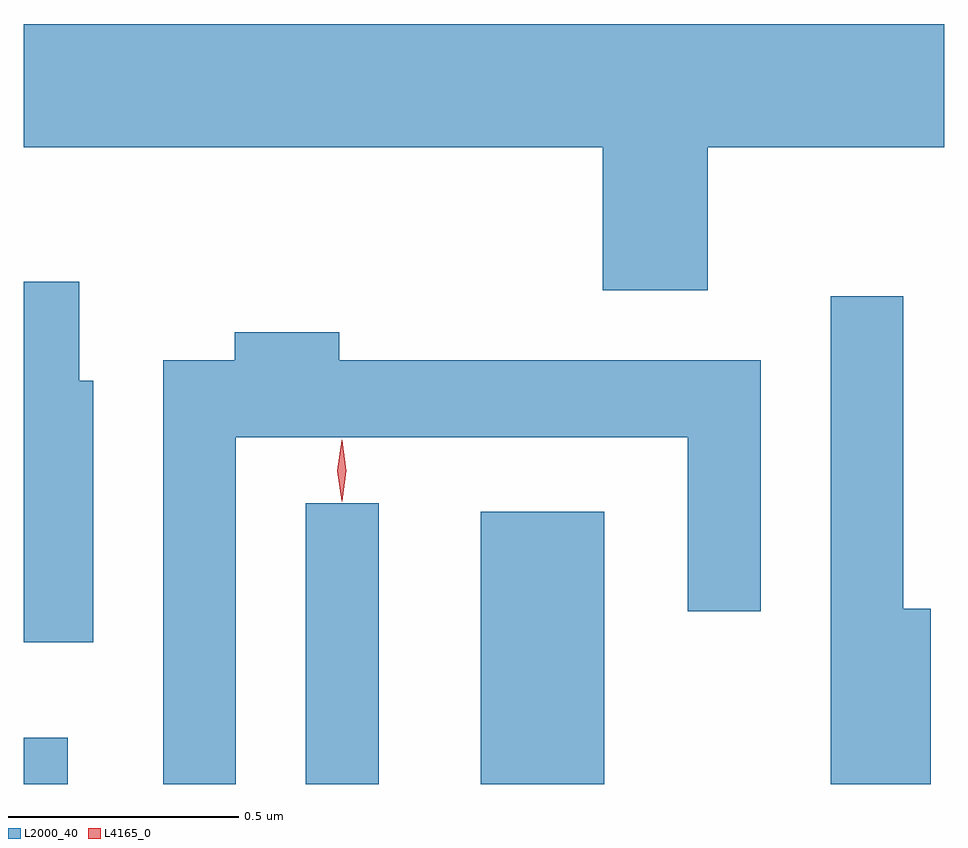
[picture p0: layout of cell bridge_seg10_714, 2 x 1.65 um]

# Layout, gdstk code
import gdstk
lib = gdstk.Library(unit=1e-6, precision=1e-09)
def R(c, l, rs):  # rectangles x0, y0, x1, y1
    for r in rs: c.add(gdstk.rectangle(r[:2], r[2:], *l))
def P(c, l, *ps):  # polygons
    for p in ps: c.add(gdstk.Polygon(p, *l))
L2000_40 = (2000, 40)
L4165_0 = (4165, 0)

bridge_seg10_714 = lib.new_cell('bridge_seg10_714')
R(bridge_seg10_714, L2000_40, [(1043.063,2128.073,1043.159,2128.174), (1043.676,2128.073,1043.834,2128.683), (1044.056,2128.073,1044.324,2128.664)])
P(bridge_seg10_714, L2000_40, [(1044.549,2129.456),(1045.063,2129.456),(1045.063,2129.724),(1043.063,2129.724),(1043.063,2129.456),(1044.321,2129.456),(1044.321,2129.146),(1044.549,2129.146)],
  [(1043.214,2128.949),(1043.184,2128.949),(1043.184,2129.164),(1043.063,2129.164),(1043.063,2128.381),(1043.214,2128.381)],
  [(1045.034,2128.454),(1044.974,2128.454),(1044.974,2129.133),(1044.816,2129.133),(1044.816,2128.073),(1045.034,2128.073)],
  [(1043.524,2128.826),(1044.506,2128.826),(1044.506,2128.448),(1044.664,2128.448),(1044.664,2128.994),(1043.749,2128.994),(1043.749,2129.054),(1043.521,2129.054),(1043.521,2128.994),(1043.366,2128.994),(1043.366,2128.073),(1043.524,2128.073)])
P(bridge_seg10_714, L4165_0, [(1043.754,2128.687),(1043.754,2128.687),(1043.744,2128.754),(1043.754,2128.82),(1043.754,2128.821),(1043.755,2128.82),(1043.764,2128.754),(1043.755,2128.687)])

lib.write_gds('bridge_seg10_714.gds')
